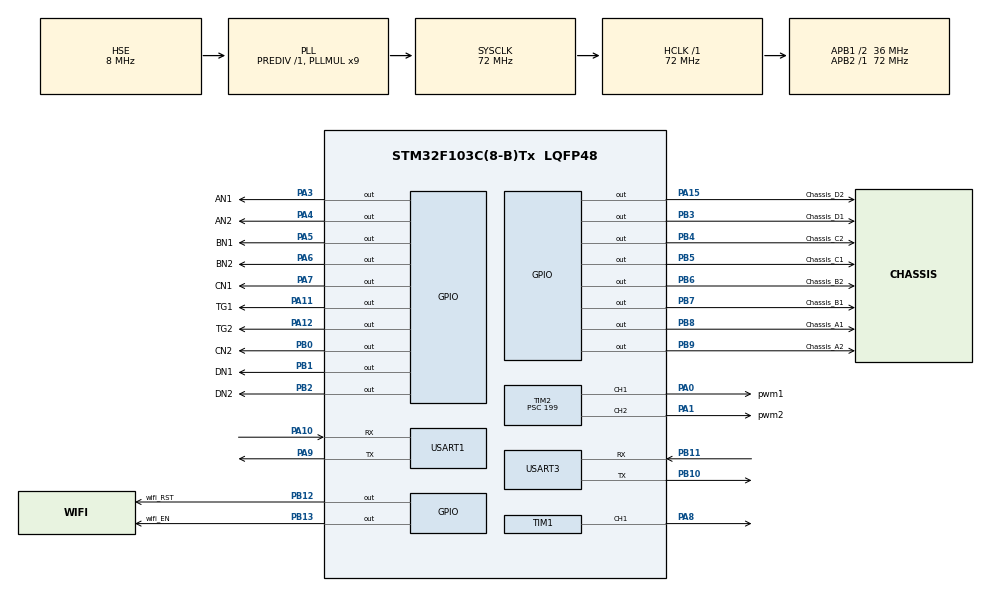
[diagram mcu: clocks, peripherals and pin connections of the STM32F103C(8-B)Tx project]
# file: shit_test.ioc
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Dma.Request0=USART3_RX
Dma.USART3_RX.0.Direction=DMA_PERIPH_TO_MEMORY
Dma.USART3_RX.0.Instance=DMA1_Channel3
Dma.USART3_RX.0.MemDataAlignment=DMA_MDATAALIGN_BYTE
Dma.USART3_RX.0.MemInc=DMA_MINC_ENABLE
Dma.USART3_RX.0.Mode=DMA_CIRCULAR
Dma.USART3_RX.0.PeriphDataAlignment=DMA_PDATAALIGN_BYTE
Dma.USART3_RX.0.PeriphInc=DMA_PINC_DISABLE
Dma.USART3_RX.0.Priority=DMA_PRIORITY_LOW
Mcu.Family=STM32F1
Mcu.Name=STM32F103C(8-B)Tx
Mcu.Package=LQFP48
NVIC.DMA1_Channel3_IRQn=true\:0\:0\:false\:false\:true\:false\:true
NVIC.PriorityGroup=NVIC_PRIORITYGROUP_4
NVIC.USART3_IRQn=true\:0\:0\:false\:false\:true\:true\:true
PA0-WKUP.GPIO_Label=pwm1
PA0-WKUP.Signal=S_TIM2_CH1_ETR
PA1.GPIO_Label=pwm2
PA1.Signal=S_TIM2_CH2
PA10.Mode=Asynchronous
PA10.Signal=USART1_RX
PA11.GPIO_Label=TG1
PA11.Signal=GPIO_Output
PA12.GPIO_Label=TG2
PA12.Signal=GPIO_Output
PA13.Mode=Serial_Wire
PA13.Signal=SYS_JTMS-SWDIO
PA14.Mode=Serial_Wire
PA14.Signal=SYS_JTCK-SWCLK
PA15.GPIO_Label=Chassis_D2
PA15.Signal=GPIO_Output
PA3.GPIO_Label=AN1
PA3.GPIO_Speed=GPIO_SPEED_FREQ_LOW
PA3.Signal=GPIO_Output
PA4.GPIO_Label=AN2
PA4.Signal=GPIO_Output
PA5.GPIO_Label=BN1
PA5.Signal=GPIO_Output
PA6.GPIO_Label=BN2
PA6.Signal=GPIO_Output
PA7.GPIO_Label=CN1
PA7.Signal=GPIO_Output
PA8.Signal=S_TIM1_CH1
PA9.Mode=Asynchronous
PA9.Signal=USART1_TX
PB0.GPIO_Label=CN2
PB0.Signal=GPIO_Output
PB1.GPIO_Label=DN1
PB1.Signal=GPIO_Output
PB10.Mode=Asynchronous
PB10.Signal=USART3_TX
PB11.Mode=Asynchronous
PB11.Signal=USART3_RX
PB12.GPIO_Label=wifi_RST
PB12.Signal=GPIO_Output
PB13.GPIO_Label=wifi_EN
PB13.PinState=GPIO_PIN_RESET
PB13.Signal=GPIO_Output
PB2.GPIO_Label=DN2
PB2.Signal=GPIO_Output
PB3.GPIO_Label=Chassis_D1
PB3.Signal=GPIO_Output
PB4.GPIO_Label=Chassis_C2
PB4.Signal=GPIO_Output
PB5.GPIO_Label=Chassis_C1
PB5.Signal=GPIO_Output
PB6.GPIO_Label=Chassis_B2
PB6.Signal=GPIO_Output
PB7.GPIO_Label=Chassis_B1
PB7.Signal=GPIO_Output
PB8.GPIO_Label=Chassis_A1
PB8.Signal=GPIO_Output
PB9.GPIO_Label=Chassis_A2
PB9.Signal=GPIO_Output
PD0-OSC_IN.Mode=HSE-External-Oscillator
PD0-OSC_IN.Signal=RCC_OSC_IN
PD1-OSC_OUT.Mode=HSE-External-Oscillator
PD1-OSC_OUT.Signal=RCC_OSC_OUT
ProjectManager.HeapSize=0x200
ProjectManager.StackSize=0x400
ProjectManager.TargetToolchain=MDK-ARM V5
RCC.AHBFreq_Value=72000000
RCC.APB1CLKDivider=RCC_HCLK_DIV2
RCC.APB1Freq_Value=36000000
RCC.APB1TimFreq_Value=72000000
RCC.APB2Freq_Value=72000000
RCC.APB2TimFreq_Value=72000000
RCC.HCLKFreq_Value=72000000
RCC.PLLMUL=RCC_PLL_MUL9
RCC.PLLSourceVirtual=RCC_PLLSOURCE_HSE
RCC.SYSCLKFreq_VALUE=72000000
RCC.SYSCLKSource=RCC_SYSCLKSOURCE_PLLCLK
RCC.USBFreq_Value=72000000
SH.S_TIM1_CH1.0=TIM1_CH1,PWM Generation1 CH1
SH.S_TIM2_CH1_ETR.0=TIM2_CH1,PWM Generation1 CH1
SH.S_TIM2_CH2.0=TIM2_CH2,PWM Generation2 CH2
TIM1.Channel-PWM\ Generation1\ CH1=TIM_CHANNEL_1
TIM1.Period=99
TIM1.Prescaler=1339
TIM2.AutoReloadPreload=TIM_AUTORELOAD_PRELOAD_ENABLE
TIM2.Channel-PWM\ Generation1\ CH1=TIM_CHANNEL_1
TIM2.Channel-PWM\ Generation2\ CH2=TIM_CHANNEL_2
TIM2.Period=7199
TIM2.Prescaler=199
USART1.VirtualMode=VM_ASYNC
USART3.VirtualMode=VM_ASYNC
VP_TIM1_VS_ClockSourceINT.Mode=Internal
VP_TIM2_VS_ClockSourceINT.Mode=Internal
board=custom

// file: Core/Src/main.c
/* USER CODE BEGIN Header */
/**
  ******************************************************************************
  * @file           : main.c
  * @brief          : Main program body
  ******************************************************************************
  * @attention
  *
  * Copyright (c) 2022 STMicroelectronics.
  * All rights reserved.
  *
  * This software is licensed under terms that can be found in the LICENSE file
  * in the root directory of this software component.
  * If no LICENSE file comes with this software, it is provided AS-IS.
  *
  ******************************************************************************
  */
/* USER CODE END Header */
#include "main.h"
#include "dma.h"
#include "tim.h"
#include "usart.h"
#include "gpio.h"

/* USER CODE BEGIN Includes */
#include "gimbal.h"
#include <stdio.h>
#include "bsp_esp8266_test.h"
#include "bsp_esp8266.h"
#include "chassis.h"
/* USER CODE END Includes */

/* USER CODE BEGIN PTD */
int pwm_signal=0;
/* USER CODE END PTD */

void SystemClock_Config(void);

int main(void)
{

  /* MCU Configuration--------------------------------------------------------*/

  /* Reset of all peripherals, Initializes the Flash interface and the Systick. */
  HAL_Init();

  /* Configure the system clock */
  SystemClock_Config();

  /* Initialize all configured peripherals */
  MX_GPIO_Init();
  MX_DMA_Init();
  MX_USART3_UART_Init();
  MX_USART1_UART_Init();
  MX_TIM2_Init();
  MX_TIM1_Init();
  /* USER CODE BEGIN 2 */
//	HAL_TIM_PWM_Start(&htim2,TIM_CHANNEL_1);
//	HAL_TIM_PWM_Start(&htim1,TIM_CHANNEL_1);
	macESP8266_RST_HIGH_LEVEL();
	macESP8266_CH_DISABLE();
	__HAL_UART_ENABLE_IT(&huart3, UART_IT_IDLE);
	HAL_UART_Receive_DMA(&huart3,(uint8_t *)strEsp8266_Fram_Record.Data_RX_BUF,RX_BUF_MAX_LEN);
	HAL_Delay(100);
	ESP8266_ApTcpServer_ConfigTest();
  /* USER CODE END 2 */

  /* Infinite loop */
  while (1)
  {

    /* USER CODE BEGIN 3 */
		ESP8266_CheckRecv_SendDataTest();
  /* USER CODE END 3 */
}
}

void SystemClock_Config(void)
{
  RCC_OscInitTypeDef RCC_OscInitStruct = {0};
  RCC_ClkInitTypeDef RCC_ClkInitStruct = {0};

  /** Initializes the RCC Oscillators according to the specified parameters
  * in the RCC_OscInitTypeDef structure.
  */
  RCC_OscInitStruct.OscillatorType = RCC_OSCILLATORTYPE_HSE;
  RCC_OscInitStruct.HSEState = RCC_HSE_ON;
  RCC_OscInitStruct.HSEPredivValue = RCC_HSE_PREDIV_DIV1;
  RCC_OscInitStruct.HSIState = RCC_HSI_ON;
  RCC_OscInitStruct.PLL.PLLState = RCC_PLL_ON;
  RCC_OscInitStruct.PLL.PLLSource = RCC_PLLSOURCE_HSE;
  RCC_OscInitStruct.PLL.PLLMUL = RCC_PLL_MUL9;
  if (HAL_RCC_OscConfig(&RCC_OscInitStruct) != HAL_OK)
  {
    Error_Handler();
  }
  /** Initializes the CPU, AHB and APB buses clocks
  */
  RCC_ClkInitStruct.ClockType = RCC_CLOCKTYPE_HCLK|RCC_CLOCKTYPE_SYSCLK
                              |RCC_CLOCKTYPE_PCLK1|RCC_CLOCKTYPE_PCLK2;
  RCC_ClkInitStruct.SYSCLKSource = RCC_SYSCLKSOURCE_PLLCLK;
  RCC_ClkInitStruct.AHBCLKDivider = RCC_SYSCLK_DIV1;
  RCC_ClkInitStruct.APB1CLKDivider = RCC_HCLK_DIV2;
  RCC_ClkInitStruct.APB2CLKDivider = RCC_HCLK_DIV1;

  if (HAL_RCC_ClockConfig(&RCC_ClkInitStruct, FLASH_LATENCY_2) != HAL_OK)
  {
    Error_Handler();
  }
}

/* USER CODE BEGIN 4 */
int fputc(int ch, FILE *f)
{
  HAL_UART_Transmit(&huart3, (uint8_t *)&ch, 1, 0xffff);
  return ch;
}
/* USER CODE END 4 */

void Error_Handler(void)
{
  __disable_irq();
  while (1)
  {
  }
}
